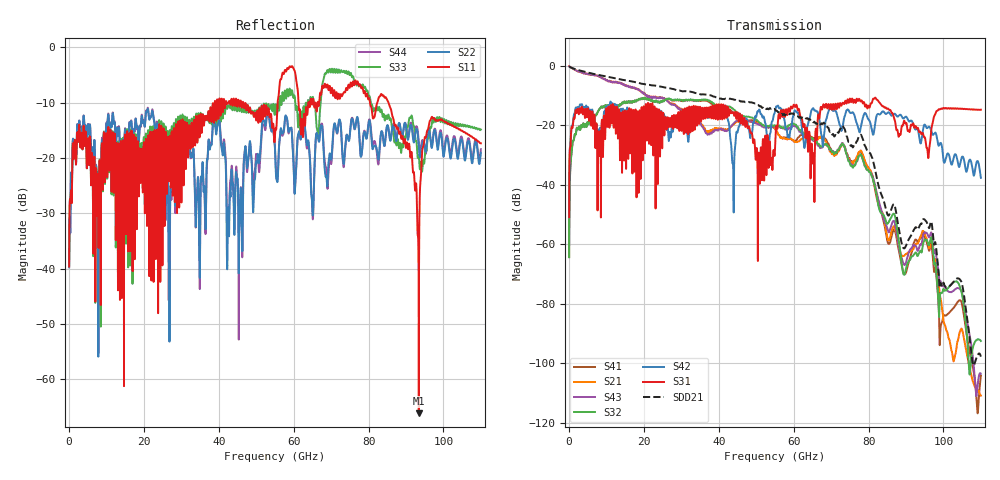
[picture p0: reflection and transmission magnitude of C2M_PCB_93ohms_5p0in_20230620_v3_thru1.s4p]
! Info: Touchstone file created by Circ.  Input file=C2M_PCB_93ohms_5p0in_20230620_v3.circ
# Hz S RI R 50
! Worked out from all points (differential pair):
!   11000 points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, 10 MHz to 110 GHz, reference 50 ohm
!   strongest paths, dB at 10 MHz, 27.51 GHz, 55.01 GHz, 82.51 GHz, 110 GHz:
!     S31: -50.8, -16.8, -27.9, -11.7, -14.7
!     S42: -50.7, -20.7, -15.3, -16.1, -37.6
!     S32: -64.3, -11.5, -20.0, -46.3, -92.4
!     S43: -0.1, -13.0, -20.4, -44.5, -103.5
!     S21: -0.1, -12.7, -21.0, -46.2, -110.8
!     S41: -64.3, -11.7, -21.1, -45.1, -104.1
!   taken as a pair (ports 3,1 in; 4,2 out), SDD21 dB: -0.1, -7.7, -14.6, -39.5, -97.7
!   lowest |S11| = -66.2 dB at 93.42 GHz (marker M1), VSWR 1.00, Z = 50 + j0.0123 ohm
!   |S11| at or under -10 dB: start of sweep to 38.91 GHz; 46.53 GHz to 55.7 GHz (9.167 GHz wide, 17.9 % of centre); 85.33 GHz to end of sweep (the widest 3 of 22)
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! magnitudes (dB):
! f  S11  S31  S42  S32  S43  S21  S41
! 10 MHz  -39.6  -50.8  -50.7  -64.3  -0.1  -0.1  -64.3
! 1.32 GHz  -19.6  -17.4  -16.3  -24.5  -1.1  -1.1  -24.4
! 8.31 GHz  -23.4  -22.0  -20.9  -14.3  -3.7  -3.7  -14.3
! 36.43 GHz  -12.8  -17.2  -16.3  -11.3  -22.3  -21.7  -11.7
! 73.14 GHz  -8.4  -12.4  -20.0  -26.3  -26.0  -26.3  -26.1
! 93.42 GHz  -66.2  -21.9  -22.9  -63.1  -61.4  -58.9  -58.8
! 110 GHz  -17.3  -14.7  -37.6  -92.4  -103.5  -110.8  -104.1
